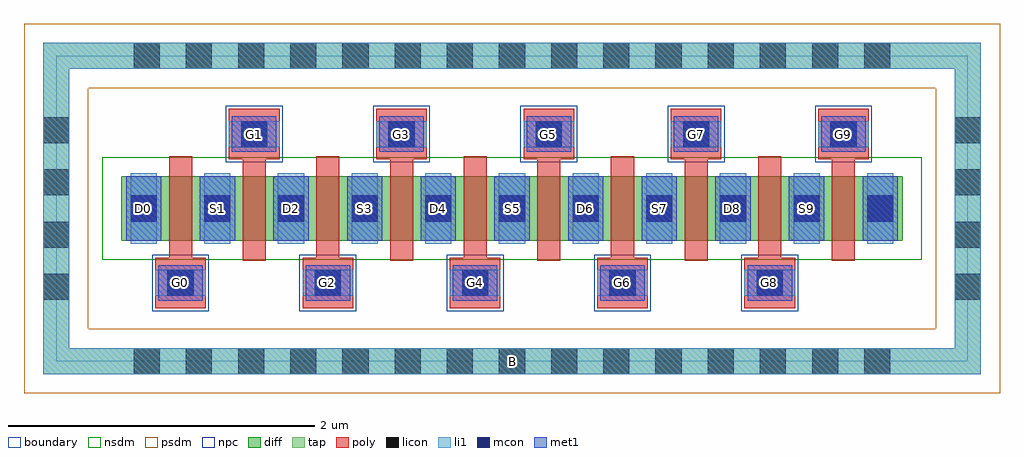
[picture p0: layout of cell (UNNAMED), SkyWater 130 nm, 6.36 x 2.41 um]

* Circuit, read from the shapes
.subckt (UNNAMED) B D0 D2 D4 D6 D8 G0 G1 G2 G3 G4 G5 G6 G7 G8 G9 S1 S3 S5 S7 S9
XM1 S1 G0 D0 B sky130_fd_pr__nfet_01v8 w=0.42 l=0.15
XM2 D2 G1 S1 B sky130_fd_pr__nfet_01v8 w=0.42 l=0.15
XM3 S3 G2 D2 B sky130_fd_pr__nfet_01v8 w=0.42 l=0.15
XM4 D4 G3 S3 B sky130_fd_pr__nfet_01v8 w=0.42 l=0.15
XM5 S5 G4 D4 B sky130_fd_pr__nfet_01v8 w=0.42 l=0.15
XM6 D6 G5 S5 B sky130_fd_pr__nfet_01v8 w=0.42 l=0.15
XM7 S7 G6 D6 B sky130_fd_pr__nfet_01v8 w=0.42 l=0.15
XM8 D8 G7 S7 B sky130_fd_pr__nfet_01v8 w=0.42 l=0.15
XM9 S9 G8 D8 B sky130_fd_pr__nfet_01v8 w=0.42 l=0.15
XM10 n1 G9 S9 B sky130_fd_pr__nfet_01v8 w=0.42 l=0.15
.ends

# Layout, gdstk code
import gdstk
lib = gdstk.Library(unit=1e-6, precision=1e-09)
def R(c, l, rs):  # rectangles x0, y0, x1, y1
    for r in rs: c.add(gdstk.rectangle(r[:2], r[2:], *l))
def A(c, l, x, y, w, h, nx, ny, dx, dy):  # array of equal rectangles
    R(c, l, [(x+i*dx, y+j*dy, x+i*dx+w, y+j*dy+h) for i in range(nx) for j in range(ny)])
diff = (65, 20)
tap = (65, 44)
poly = (66, 20)
licon = (66, 44)
li1 = (67, 20)
mcon = (67, 44)
met1 = (68, 20)
nsdm = (93, 44)
psdm = (94, 20)
npc = (95, 20)
boundary = (235, 4)

c__unnamed_ = lib.new_cell('(UNNAMED)')
R(c__unnamed_, diff, [(-2.545,-0.21,2.545,0.21)])
R(c__unnamed_, tap, [(-3.055,-1.08,3.055,-0.91), (-3.055,-0.91,-2.885,0.91), (2.885,-0.91,3.055,0.91), (-3.055,0.91,3.055,1.08)])
A(c__unnamed_, poly, -2.325, -0.65, 0.33, 0.33, 5, 1, 0.96, 0)
A(c__unnamed_, poly, -1.755, -0.34, 0.15, 0.66, 5, 1, 0.96, 0)
A(c__unnamed_, poly, -2.235, -0.32, 0.15, 0.66, 5, 1, 0.96, 0)
A(c__unnamed_, poly, -1.845, 0.32, 0.33, 0.33, 5, 1, 0.96, 0)
A(c__unnamed_, licon, -2.465, -1.08, 0.17, 0.17, 15, 2, 0.34, 1.99)
A(c__unnamed_, licon, -3.055, -0.595, 0.17, 0.17, 1, 4, 0, 0.34)
A(c__unnamed_, licon, 2.885, -0.595, 0.17, 0.17, 1, 4, 0, 0.34)
A(c__unnamed_, licon, -2.245, -0.57, 0.17, 0.17, 5, 1, 0.96, 0)
A(c__unnamed_, licon, -2.485, -0.085, 0.17, 0.17, 11, 1, 0.48, 0)
A(c__unnamed_, licon, -1.765, 0.4, 0.17, 0.17, 5, 1, 0.96, 0)
A(c__unnamed_, li1, -2.325, -0.57, 0.33, 0.17, 5, 1, 0.96, 0)
A(c__unnamed_, li1, -2.485, -0.23, 0.17, 0.46, 11, 1, 0.48, 0)
A(c__unnamed_, li1, -1.845, 0.4, 0.33, 0.17, 5, 1, 0.96, 0)
R(c__unnamed_, li1, [(-3.055,-1.08,3.055,-0.91), (-3.055,-0.91,-2.885,0.91), (2.885,-0.91,3.055,0.91), (-3.055,0.91,3.055,1.08)])
A(c__unnamed_, mcon, -2.245, -0.57, 0.17, 0.17, 5, 1, 0.96, 0)
A(c__unnamed_, mcon, -2.485, -0.085, 0.17, 0.17, 11, 1, 0.48, 0)
A(c__unnamed_, mcon, -1.765, 0.4, 0.17, 0.17, 5, 1, 0.96, 0)
A(c__unnamed_, met1, -2.305, -0.6, 0.29, 0.23, 5, 1, 0.96, 0)
A(c__unnamed_, met1, -2.515, -0.21, 0.23, 0.42, 11, 1, 0.48, 0)
A(c__unnamed_, met1, -1.825, 0.37, 0.29, 0.23, 5, 1, 0.96, 0)
R(c__unnamed_, nsdm, [(-2.67,-0.335,2.67,0.335)])
R(c__unnamed_, psdm, [(-3.18,-1.205,3.18,-0.785), (-3.18,-0.785,-2.76,0.785), (2.76,-0.785,3.18,0.785), (-3.18,0.785,3.18,1.205)])
A(c__unnamed_, npc, -2.345, -0.67, 0.37, 0.37, 5, 1, 0.96, 0)
A(c__unnamed_, npc, -1.865, 0.3, 0.37, 0.37, 5, 1, 0.96, 0)
R(c__unnamed_, boundary, [(-2.97,-0.995,2.97,0.995)])
c__unnamed_.add(gdstk.Label('B', (0,-0.995), layer=67, texttype=5))
c__unnamed_.add(gdstk.Label('D0', (-2.4,0), layer=67, texttype=5))
c__unnamed_.add(gdstk.Label('G0', (-2.16,-0.485), layer=67, texttype=5))
c__unnamed_.add(gdstk.Label('S1', (-1.92,0), layer=67, texttype=5))
c__unnamed_.add(gdstk.Label('G1', (-1.68,0.485), layer=67, texttype=5))
c__unnamed_.add(gdstk.Label('D2', (-1.44,0), layer=67, texttype=5))
c__unnamed_.add(gdstk.Label('G2', (-1.2,-0.485), layer=67, texttype=5))
c__unnamed_.add(gdstk.Label('S3', (-0.96,0), layer=67, texttype=5))
c__unnamed_.add(gdstk.Label('G3', (-0.72,0.485), layer=67, texttype=5))
c__unnamed_.add(gdstk.Label('D4', (-0.48,0), layer=67, texttype=5))
c__unnamed_.add(gdstk.Label('G4', (-0.24,-0.485), layer=67, texttype=5))
c__unnamed_.add(gdstk.Label('S5', (0,0), layer=67, texttype=5))
c__unnamed_.add(gdstk.Label('G5', (0.24,0.485), layer=67, texttype=5))
c__unnamed_.add(gdstk.Label('D6', (0.48,0), layer=67, texttype=5))
c__unnamed_.add(gdstk.Label('G6', (0.72,-0.485), layer=67, texttype=5))
c__unnamed_.add(gdstk.Label('S7', (0.96,0), layer=67, texttype=5))
c__unnamed_.add(gdstk.Label('G7', (1.2,0.485), layer=67, texttype=5))
c__unnamed_.add(gdstk.Label('D8', (1.44,0), layer=67, texttype=5))
c__unnamed_.add(gdstk.Label('G8', (1.68,-0.485), layer=67, texttype=5))
c__unnamed_.add(gdstk.Label('S9', (1.92,0), layer=67, texttype=5))
c__unnamed_.add(gdstk.Label('G9', (2.16,0.485), layer=67, texttype=5))

lib.write_gds('_UNNAMED_.gds')
